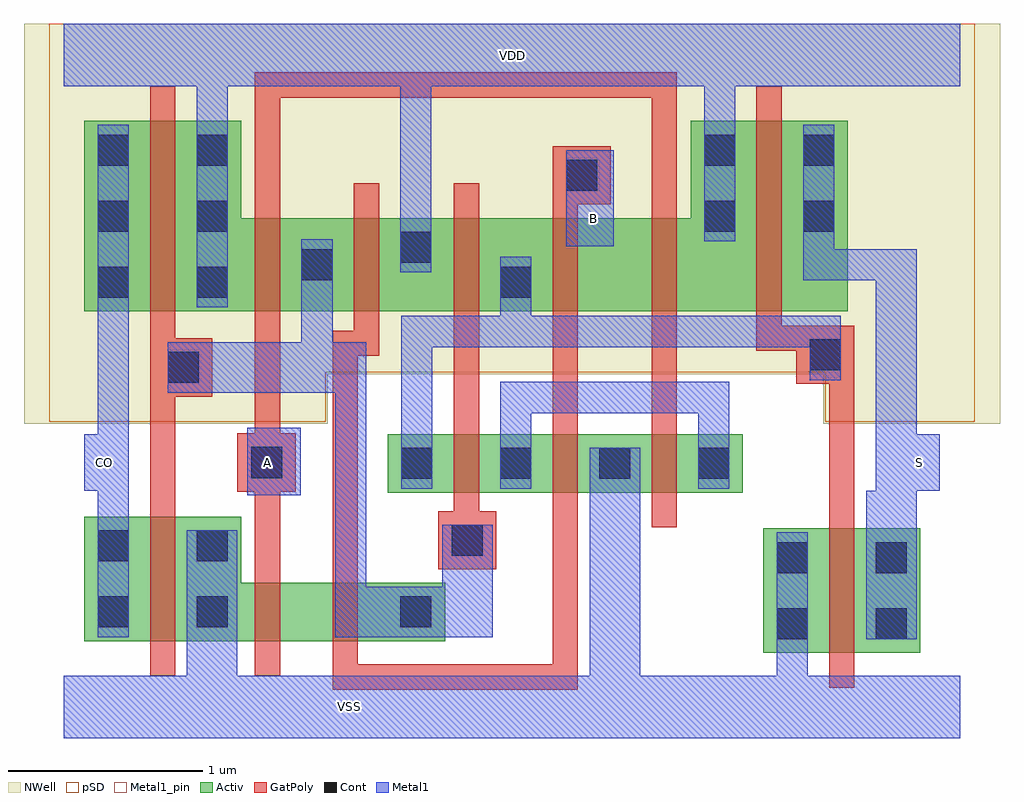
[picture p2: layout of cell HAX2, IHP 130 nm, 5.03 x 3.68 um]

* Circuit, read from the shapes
.subckt HAX2 A B CO S VDD VSS
XM1 VSS n1 CO VSUBS sg13_lv_nmos w=0.64u l=0.13u
XM2 n2 A VSS VSUBS sg13_lv_nmos w=0.3u l=0.13u
XM3 n1 B n2 VSUBS sg13_lv_nmos w=0.3u l=0.13u
XM4 n3 n1 n4 VSUBS sg13_lv_nmos w=0.3u l=0.13u
XM5 VSS B n3 VSUBS sg13_lv_nmos w=0.3u l=0.13u
XM6 n3 A VSS VSUBS sg13_lv_nmos w=0.3u l=0.13u
XM7 S n4 VSS VSUBS sg13_lv_nmos w=0.64u l=0.13u
XM8 VDD n1 CO n5 sg13_lv_pmos w=0.98u l=0.13u
XM9 n1 A VDD n5 sg13_lv_pmos w=0.48u l=0.13u
XM10 VDD B n1 n5 sg13_lv_pmos w=0.48u l=0.13u
XM11 n4 n1 VDD n5 sg13_lv_pmos w=0.48u l=0.13u
XM12 n6 B n4 n5 sg13_lv_pmos w=0.48u l=0.13u
XM13 VDD A n6 n5 sg13_lv_pmos w=0.48u l=0.13u
XM14 S n4 VDD n5 sg13_lv_pmos w=0.98u l=0.13u
.ends

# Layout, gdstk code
import gdstk
lib = gdstk.Library(unit=1e-6, precision=1e-09)
def R(c, l, rs):  # rectangles x0, y0, x1, y1
    for r in rs: c.add(gdstk.rectangle(r[:2], r[2:], *l))
def A(c, l, x, y, w, h, nx, ny, dx, dy):  # array of equal rectangles
    R(c, l, [(x+i*dx, y+j*dy, x+i*dx+w, y+j*dy+h) for i in range(nx) for j in range(ny)])
def P(c, l, *ps):  # polygons
    for p in ps: c.add(gdstk.Polygon(p, *l))
Activ = (1, 0)
GatPoly = (5, 0)
Cont = (6, 0)
Metal1 = (8, 0)
Metal1_pin = (8, 2)
pSD = (14, 0)
NWell = (31, 0)

hax2 = lib.new_cell('HAX2')
R(hax2, Activ, [(3.605,0.28,4.415,0.92), (1.67,1.105,3.5,1.405)])
P(hax2, Activ, [(0.105,0.34),(0.105,0.98),(0.915,0.98),(0.915,0.64),(1.965,0.64),(1.965,0.34)],
  [(0.105,2.04),(0.105,3.02),(0.915,3.02),(0.915,2.52),(3.23,2.52),(3.23,3.02),(4.04,3.02),(4.04,2.04)])
P(hax2, GatPoly, [(1.385,0.09),(1.385,1.94),(1.495,1.94),(1.495,2.7),(1.625,2.7),(1.625,1.81),(1.515,1.81),(1.515,0.22),(2.52,0.22),(2.52,2.89),(2.82,2.89),(2.82,2.59),(2.65,2.59),(2.65,0.09)],
  [(0.985,0.16),(0.985,1.11),(0.895,1.11),(0.895,1.41),(0.985,1.41),(0.985,3.27),(3.16,3.27),(3.16,0.925),(3.03,0.925),(3.03,3.14),(1.115,3.14),(1.115,1.41),(1.195,1.41),(1.195,1.11),(1.115,1.11),(1.115,0.16)],
  [(0.445,0.16),(0.445,3.2),(0.575,3.2),(0.575,1.9),(0.765,1.9),(0.765,1.6),(0.575,1.6),(0.575,0.16)],
  [(1.93,0.71),(1.93,1.01),(2.01,1.01),(2.01,2.7),(2.14,2.7),(2.14,1.01),(2.23,1.01),(2.23,0.71)],
  [(3.945,0.1),(3.945,1.665),(3.775,1.665),(3.775,1.835),(3.57,1.835),(3.57,3.2),(3.7,3.2),(3.7,1.965),(4.075,1.965),(4.075,0.1)])
A(hax2, Cont, 1.74, 1.175, 0.16, 0.16, 4, 1, 0.51, 0)
A(hax2, Cont, 0.175, 2.11, 0.16, 0.16, 1, 3, 0, 0.34)
A(hax2, Cont, 0.685, 2.11, 0.16, 0.16, 1, 3, 0, 0.34)
R(hax2, Cont, [(3.675,0.35,3.835,0.51), (4.185,0.35,4.345,0.51), (0.175,0.41,0.335,0.57), (0.685,0.41,0.845,0.57), (1.735,0.41,1.895,0.57), (3.675,0.69,3.835,0.85), (4.185,0.69,4.345,0.85), (0.175,0.75,0.335,0.91), (0.685,0.75,0.845,0.91), (2,0.78,2.16,0.94), (0.965,1.18,1.125,1.34), (0.535,1.67,0.695,1.83), (3.845,1.735,4.005,1.895), (2.25,2.11,2.41,2.27), (1.225,2.2,1.385,2.36), (1.735,2.29,1.895,2.45), (3.3,2.45,3.46,2.61), (3.81,2.45,3.97,2.61), (2.59,2.66,2.75,2.82), (3.3,2.79,3.46,2.95), (3.81,2.79,3.97,2.95)])
R(hax2, Metal1, [(0.945,1.09,1.22,1.44), (2.59,2.375,2.835,2.87)])
P(hax2, Metal1, [(4.135,0.35),(4.135,1.115),(4.185,1.115),(4.185,2.2),(3.81,2.2),(3.81,3),(3.97,3),(3.97,2.36),(4.395,2.36),(4.395,1.405),(4.515,1.405),(4.515,1.115),(4.395,1.115),(4.395,0.35)],
  [(0.685,2.06),(0.685,3.2),(0,3.2),(0,3.52),(4.62,3.52),(4.62,3.2),(3.46,3.2),(3.46,2.4),(3.3,2.4),(3.3,3.2),(1.895,3.2),(1.895,2.24),(1.735,2.24),(1.735,3.2),(0.845,3.2),(0.845,2.06)],
  [(0,-0.16),(0,0.16),(0.635,0.16),(0.635,0.91),(0.895,0.91),(0.895,0.16),(2.71,0.16),(2.71,1.335),(2.97,1.335),(2.97,0.16),(3.675,0.16),(3.675,0.9),(3.835,0.9),(3.835,0.16),(4.62,0.16),(4.62,-0.16)],
  [(1.4,0.36),(1.4,1.62),(0.535,1.62),(0.535,1.88),(1.225,1.88),(1.225,2.41),(1.385,2.41),(1.385,1.88),(1.56,1.88),(1.56,0.62),(1.95,0.62),(1.95,0.94),(2.21,0.94),(2.21,0.36)],
  [(2.25,1.125),(2.25,1.675),(3.43,1.675),(3.43,1.125),(3.27,1.125),(3.27,1.515),(2.41,1.515),(2.41,1.125)],
  [(0.175,0.36),(0.175,1.115),(0.105,1.115),(0.105,1.405),(0.175,1.405),(0.175,3),(0.335,3),(0.335,0.36)],
  [(1.74,1.125),(1.74,2.015),(2.25,2.015),(2.25,2.32),(2.41,2.32),(2.41,2.015),(4.005,2.015),(4.005,1.685),(3.845,1.685),(3.845,1.855),(1.9,1.855),(1.9,1.125)])
R(hax2, Metal1_pin, [(0,-0.16,4.62,0.16), (0.945,1.09,1.22,1.44), (0.105,1.115,0.335,1.405), (4.185,1.115,4.515,1.405), (2.59,2.375,2.835,2.87), (0,3.2,4.62,3.52)])
P(hax2, Metal1_pin, [(4.135,0.35),(4.135,1.115),(4.185,1.115),(4.185,2.2),(3.81,2.2),(3.81,3),(3.97,3),(3.97,2.36),(4.395,2.36),(4.395,1.405),(4.515,1.405),(4.515,1.115),(4.395,1.115),(4.395,0.35)],
  [(0,-0.16),(0,0.16),(0.635,0.16),(0.635,0.91),(0.895,0.91),(0.895,0.16),(2.71,0.16),(2.71,1.335),(2.97,1.335),(2.97,0.16),(3.675,0.16),(3.675,0.9),(3.835,0.9),(3.835,0.16),(4.62,0.16),(4.62,-0.16)],
  [(0.685,2.06),(0.685,3.2),(0,3.2),(0,3.52),(4.62,3.52),(4.62,3.2),(3.46,3.2),(3.46,2.4),(3.3,2.4),(3.3,3.2),(1.895,3.2),(1.895,2.24),(1.735,2.24),(1.735,3.2),(0.845,3.2),(0.845,2.06)],
  [(0.175,0.36),(0.175,1.115),(0.105,1.115),(0.105,1.405),(0.175,1.405),(0.175,3),(0.335,3),(0.335,0.36)])
P(hax2, pSD, [(-0.075,1.47),(-0.075,3.52),(4.695,3.52),(4.695,1.47),(3.925,1.47),(3.925,1.725),(1.35,1.725),(1.35,1.47)])
P(hax2, NWell, [(-0.205,1.46),(-0.205,3.52),(4.825,3.52),(4.825,1.46),(3.915,1.46),(3.915,1.715),(1.36,1.715),(1.36,1.46)])
hax2.add(gdstk.Label('S', (4.41,1.26), layer=8, texttype=25))
hax2.add(gdstk.Label('B', (2.73,2.52), layer=8, texttype=25))
hax2.add(gdstk.Label('VDD', (2.31,3.36), layer=8, texttype=25))
hax2.add(gdstk.Label('CO', (0.21,1.26), layer=8, texttype=25))
hax2.add(gdstk.Label('VSS', (1.47,0), layer=8, texttype=25))
hax2.add(gdstk.Label('A', (1.05,1.26), layer=8, texttype=25))

lib.write_gds('HAX2.gds')
